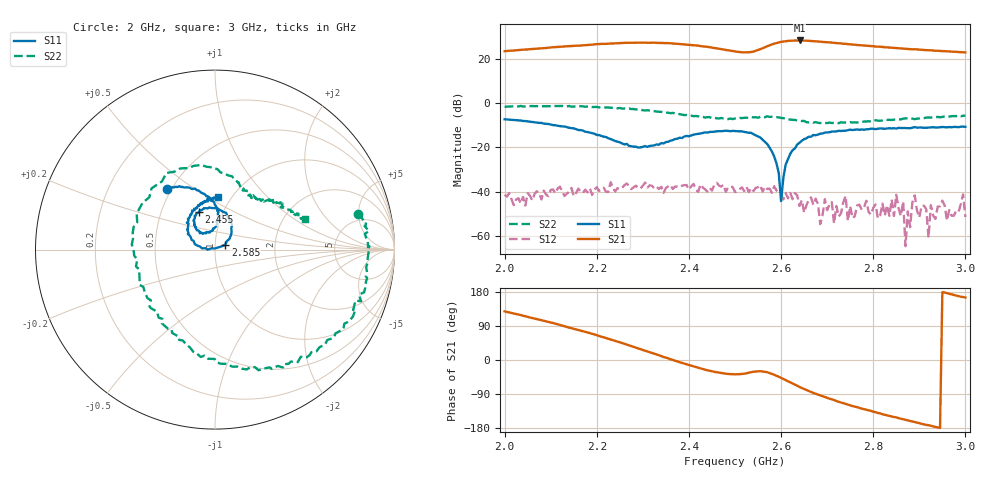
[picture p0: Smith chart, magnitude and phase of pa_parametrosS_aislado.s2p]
!Agilent Technologies,E8364A,US41440144,A.06.04.32
!Agilent E8364A: A.06.04.32
!Date: Tuesday, February 06, 2018 11:12:06
!Correction: S11(Full 2 Port(1,2)) S21(Full 2 Port(1,2)) S12(Full 2 Port(1,2)) S22(Full 2 Port(1,2))
!S2P File: Measurements: S11, S21, S12, S22:
# Hz S  dB  R 50
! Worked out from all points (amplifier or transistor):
!   201 points, 2 GHz to 3 GHz, reference 50 ohm
!   highest |S21| = 28.3 dB at 2.64 GHz (marker M1)
!   |S21| within 3 dB of that: 2.112 GHz to 2.443 GHz (331.8 MHz wide, 14.6 % of centre)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
!   unconditionally stable (mu >= 1): 2.017687 GHz to 2.02249 GHz; 2.042607 GHz to 2.046534 GHz; 2.308 GHz to end of sweep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
!   at 2.165 GHz: K = 0.57, MSG = 33.0 dB, |S12| = -40.0 dB
!   at 2.5 GHz: K = 2.71, MAG = 24.6 dB, |S12| = -40.2 dB
!   at 3 GHz: K = 8.86, MAG = 24.7 dB, |S12| = -51.4 dB
!   S11 on the Smith chart (normalised r, x): 2 GHz: 0.47, +0.39; 2.455 GHz: 0.77, +0.34; 2.585 GHz: 1.12, +0.06; 3 GHz: 0.87, +0.56
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2e9  -7.28 128.6  23.46 128.3  -41.32 -13.9  -1.71 13.8
2.1e9  -9.68 103.9  25.13 99.1  -39.18 -32.9  -1.38 -10.0
2.17e9  -12.39 88.4  26.10 76.2  -40.52 -53.4  -1.45 -28.2
2.21e9  -14.79 84.1  26.74 61.6  -38.88 -67.9  -1.86 -40.1
2.255e9  -18.13 89.5  27.17 44.6  -38.12 -71.4  -2.46 -56.0
2.29e9  -20.07 107.7  27.33 30.3  -38.36 -72.9  -2.89 -67.7
2.335e9  -18.74 127.4  27.18 12.7  -38.76 -101.9  -3.88 -84.1
2.355e9  -17.42 130.6  27.10 4.4  -37.56 -111.3  -4.30 -93.6
2.4e9  -14.94 129.8  26.30 -13.4  -38.97 -129.0  -5.59 -112.6
2.455e9  -12.89 113.7  24.87 -31.1  -36.85 -127.9  -6.68 -144.3
2.5e9  -12.59 96.3  23.34 -37.8  -40.16 -148.9  -6.91 -175.8
2.525e9  -13.20 80.3  22.89 -34.8  -37.85 -153.9  -6.54 164.3
2.55e9  -15.01 60.6  23.99 -29.7  -37.91 -165.4  -6.59 141.5
2.57e9  -18.46 42.0  25.69 -32.3  -38.75 -166.3  -5.93 122.4
2.585e9  -24.03 25.3  26.83 -38.9  -37.51 -173.8  -6.43 107.5
2.61e9  -27.70 -179.8  27.93 -52.9  -40.48 164.6  -6.99 88.1
2.64e9  -17.82 157.9  28.29 -71.1  -46.39 172.7  -7.88 73.1
2.67e9  -14.36 144.2  27.96 -86.7  -45.92 140.6  -8.79 64.9
2.74e9  -12.43 123.8  26.78 -115.9  -41.86 -161.9  -8.71 50.5
2.835e9  -11.34 104.5  25.10 -147.7  -50.86 140.8  -7.50 40.1
2.895e9  -11.05 97.0  24.26 -165.4  -48.45 152.3  -7.01 31.5
3e9  -10.69 86.2  22.87 164.8  -51.38 -179.3  -5.52 18.8
